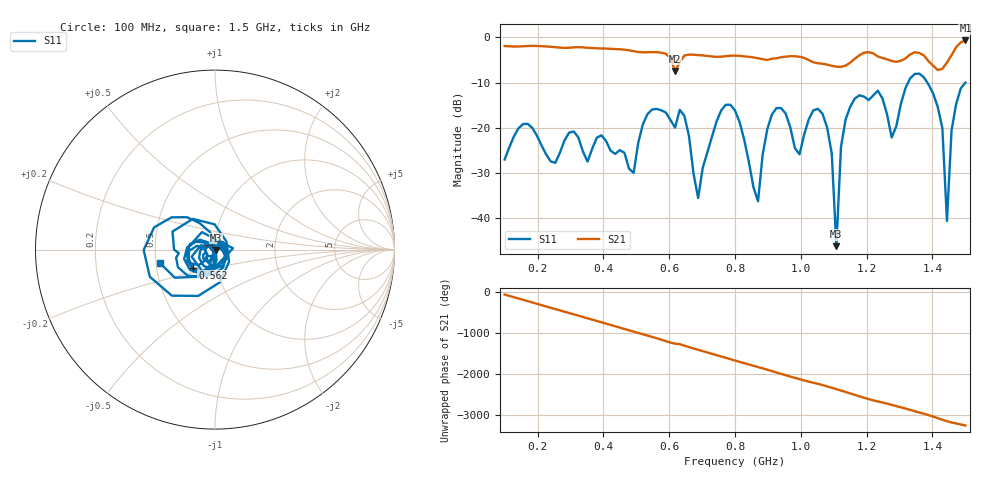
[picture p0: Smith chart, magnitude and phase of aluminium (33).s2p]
! NanoVNA-App
! Date: 2025-09-25 14:55:32
! Start: 100MHz Stop: 1,5GHz Points: 101
! S-Parameter data: F S11 S21 S12 S22
# Hz S RI R 50
!  Frequency  S11_Real  S11_Imag  S21_Real  S21_Imag  S12_Real  S12_Imag  S22_Real  S22_Imag
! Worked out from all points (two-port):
!   101 points, 100 MHz to 1.5 GHz, reference 50 ohm
!   highest |S21| = -0.69 dB at 1.5 GHz (marker M1); lowest = -7.4 dB at 618 MHz (marker M2)
!   |S21| within 3 dB of the highest: start of sweep to 590.7 MHz; 1.185 GHz to 1.223 GHz (38.34 MHz wide, 3.18 % of centre) (the widest 2 of 4)
!   lowest |S11| = -46.2 dB at 1.108 GHz (marker M3), VSWR 1.01, Z = 50.4 - j0.25 ohm
!   |S11| at or under -10 dB: start of sweep to 1.326 GHz; 1.384 GHz to end of sweep
!   S12 and S22 are empty: the file has one direction only
!   S11 on the Smith chart (normalised r, x): 100 MHz: 1.07, +0.06; 562 MHz: 0.76, -0.16; 1.5 GHz: 0.53, -0.09
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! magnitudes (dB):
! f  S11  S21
! 100 MHz  -27.0  -1.9
! 338 MHz  -25.2  -2.2
! 492 MHz  -30.0  -3.1
! 562 MHz  -15.8  -3.3
! 576 MHz  -16.1  -3.4
! 618 MHz  -20.0  -7.4
! 688 MHz  -35.5  -3.9
! 800 MHz  -16.2  -4.0
! 870 MHz  -36.2  -4.6
! 912 MHz  -17.1  -4.7
! 996 MHz  -25.8  -4.3
! 1.038 GHz  -16.1  -5.5
! 1.094 GHz  -25.7  -6.3
! 1.108 GHz  -46.2  -6.5
! 1.122 GHz  -24.2  -6.5
! 1.15 GHz  -15.3  -5.6
! 1.276 GHz  -22.1  -5.2
! 1.374 GHz  -8.8  -4.0
! 1.43 GHz  -20.0  -7.0
! 1.444 GHz  -40.6  -5.6
! 1.458 GHz  -20.5  -4.0
! 1.5 GHz  -10.0  -0.7
